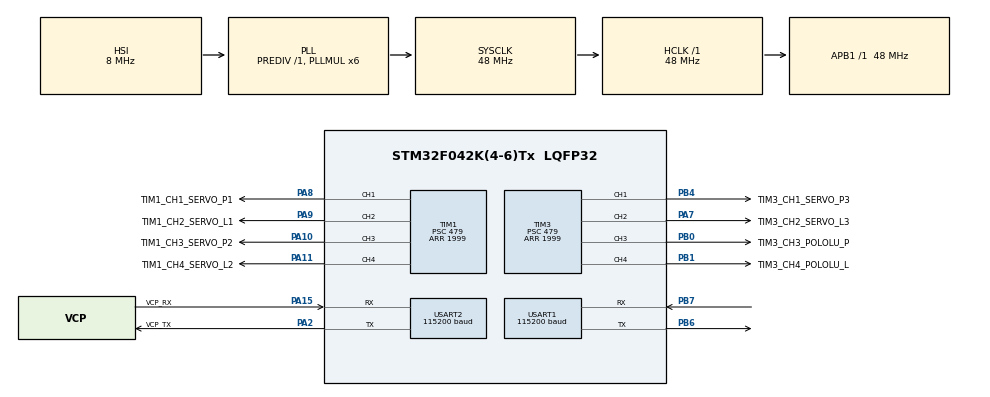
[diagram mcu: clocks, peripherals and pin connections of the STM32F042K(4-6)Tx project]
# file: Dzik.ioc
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Mcu.Family=STM32F0
Mcu.Name=STM32F042K(4-6)Tx
Mcu.Package=LQFP32
NVIC.USART1_IRQn=true\:0\:0\:false\:false\:true\:true\:true\:true
NVIC.USART2_IRQn=true\:0\:0\:false\:false\:true\:true\:true\:true
PA10.GPIO_Label=TIM1_CH3_SERVO_P2
PA10.Signal=S_TIM1_CH3
PA11.GPIO_Label=TIM1_CH4_SERVO_L2
PA11.Signal=S_TIM1_CH4
PA13.GPIO_Label=SWDIO
PA13.Mode=Serial_Wire
PA13.Signal=SYS_SWDIO
PA14.GPIO_Label=SWCLK
PA14.Mode=Serial_Wire
PA14.Signal=SYS_SWCLK
PA15.GPIO_Label=VCP_RX
PA15.Mode=Asynchronous
PA15.Signal=USART2_RX
PA2.GPIO_Label=VCP_TX
PA2.Mode=Asynchronous
PA2.Signal=USART2_TX
PA7.GPIO_Label=TIM3_CH2_SERVO_L3
PA7.Signal=S_TIM3_CH2
PA8.GPIO_Label=TIM1_CH1_SERVO_P1
PA8.Signal=S_TIM1_CH1
PA9.GPIO_Label=TIM1_CH2_SERVO_L1
PA9.Signal=S_TIM1_CH2
PB0.GPIO_Label=TIM3_CH3_POLOLU_P
PB0.Signal=S_TIM3_CH3
PB1.GPIO_Label=TIM3_CH4_POLOLU_L
PB1.Signal=S_TIM3_CH4
PB4.GPIO_Label=TIM3_CH1_SERVO_P3
PB4.Signal=S_TIM3_CH1
PB6.Mode=Asynchronous
PB6.Signal=USART1_TX
PB7.Mode=Asynchronous
PB7.Signal=USART1_RX
PF0-OSC_IN.GPIO_Label=MCO
PF0-OSC_IN.Mode=HSE-External-Clock-Source
PF0-OSC_IN.Signal=RCC_OSC_IN
ProjectManager.HeapSize=0x200
ProjectManager.StackSize=0x400
ProjectManager.TargetToolchain=STM32CubeIDE
RCC.AHBFreq_Value=48000000
RCC.APB1Freq_Value=48000000
RCC.APB1TimFreq_Value=48000000
RCC.HCLKFreq_Value=48000000
RCC.PLLMUL=RCC_PLL_MUL6
RCC.SYSCLKFreq_VALUE=48000000
RCC.SYSCLKSource=RCC_SYSCLKSOURCE_PLLCLK
SH.S_TIM1_CH1.0=TIM1_CH1,PWM Generation1 CH1
SH.S_TIM1_CH2.0=TIM1_CH2,PWM Generation2 CH2
SH.S_TIM1_CH3.0=TIM1_CH3,PWM Generation3 CH3
SH.S_TIM1_CH4.0=TIM1_CH4,PWM Generation4 CH4
SH.S_TIM3_CH1.0=TIM3_CH1,PWM Generation1 CH1
SH.S_TIM3_CH2.0=TIM3_CH2,PWM Generation2 CH2
SH.S_TIM3_CH3.0=TIM3_CH3,PWM Generation3 CH3
SH.S_TIM3_CH4.0=TIM3_CH4,PWM Generation4 CH4
TIM1.AutoReloadPreload=TIM_AUTORELOAD_PRELOAD_ENABLE
TIM1.Channel-PWM\ Generation1\ CH1=TIM_CHANNEL_1
TIM1.Channel-PWM\ Generation2\ CH2=TIM_CHANNEL_2
TIM1.Channel-PWM\ Generation3\ CH3=TIM_CHANNEL_3
TIM1.Channel-PWM\ Generation4\ CH4=TIM_CHANNEL_4
TIM1.OC1Preload_PWM=DISABLE
TIM1.OC2Preload_PWM=DISABLE
TIM1.OC3Preload_PWM=DISABLE
TIM1.OC4Preload_PWM=DISABLE
TIM1.OCFastMode_PWM-PWM\ Generation1\ CH1=TIM_OCFAST_ENABLE
TIM1.OCFastMode_PWM-PWM\ Generation2\ CH2=TIM_OCFAST_ENABLE
TIM1.OCFastMode_PWM-PWM\ Generation3\ CH3=TIM_OCFAST_ENABLE
TIM1.OCFastMode_PWM-PWM\ Generation4\ CH4=TIM_OCFAST_ENABLE
TIM1.Period=1999
TIM1.Prescaler=479
TIM1.Pulse-PWM\ Generation1\ CH1=0
TIM1.Pulse-PWM\ Generation2\ CH2=0
TIM1.Pulse-PWM\ Generation3\ CH3=0
TIM1.Pulse-PWM\ Generation4\ CH4=0
TIM3.AutoReloadPreload=TIM_AUTORELOAD_PRELOAD_ENABLE
TIM3.Channel-PWM\ Generation1\ CH1=TIM_CHANNEL_1
TIM3.Channel-PWM\ Generation2\ CH2=TIM_CHANNEL_2
TIM3.Channel-PWM\ Generation3\ CH3=TIM_CHANNEL_3
TIM3.Channel-PWM\ Generation4\ CH4=TIM_CHANNEL_4
TIM3.OC1Preload_PWM=DISABLE
TIM3.OC2Preload_PWM=DISABLE
TIM3.OC3Preload_PWM=DISABLE
TIM3.OC4Preload_PWM=DISABLE
TIM3.OCFastMode_PWM-PWM\ Generation1\ CH1=TIM_OCFAST_ENABLE
TIM3.OCFastMode_PWM-PWM\ Generation2\ CH2=TIM_OCFAST_ENABLE
TIM3.OCFastMode_PWM-PWM\ Generation3\ CH3=TIM_OCFAST_ENABLE
TIM3.OCFastMode_PWM-PWM\ Generation4\ CH4=TIM_OCFAST_ENABLE
TIM3.Period=1999
TIM3.Prescaler=479
TIM3.Pulse-PWM\ Generation1\ CH1=0
TIM3.Pulse-PWM\ Generation2\ CH2=0
TIM3.Pulse-PWM\ Generation3\ CH3=0
TIM3.Pulse-PWM\ Generation4\ CH4=0
USART1.BaudRate=115200
USART1.VirtualMode-Asynchronous=VM_ASYNC
USART2.BaudRate=115200
USART2.VirtualMode-Asynchronous=VM_ASYNC
USART2.WordLength=WORDLENGTH_8B
VP_TIM1_VS_ClockSourceINT.Mode=Internal
VP_TIM3_VS_ClockSourceINT.Mode=Internal
board=NUCLEO-F042K6

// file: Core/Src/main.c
/* USER CODE BEGIN Header */
/**
  ******************************************************************************
  * @file           : main.c
  * @brief          : Main program body
  ******************************************************************************
  * @attention
  *
  * Copyright (c) 2022 STMicroelectronics.
  * All rights reserved.
  *
  * This software is licensed under terms that can be found in the LICENSE file
  * in the root directory of this software component.
  * If no LICENSE file comes with this software, it is provided AS-IS.
  *
  ******************************************************************************
  */
/* USER CODE END Header */
#include "main.h"
#include "tim.h"
#include "usart.h"
#include "gpio.h"

/* USER CODE BEGIN PD */

// VARIABLES FROM RASPBERRY

#define MAX_FORWARD 224
#define MIN_FORWARD 255

#define MAX_BACKWARD 32
#define MIN_BACKWARD 0

#define MAX_RIGHT 157
#define MIN_RIGHT 0

#define MAX_LEFT 99
#define MIN_LEFT 255

/* USER CODE END PD */

/* USER CODE BEGIN PV */
uint8_t RxBuff;
uint16_t i = 0;
int8_t FinalBuffer[16];
uint8_t frameready = 0;
uint8_t framefirst = 0;

uint8_t ForwardDriver = 0;
uint8_t BackwardDriver = 0;
uint8_t RightDriver = 0;
uint8_t LeftDriver = 0;

uint8_t finalframeready = 0;

uint8_t Values[12];

uint8_t Flag_Direction = 0; // FLAG = 0 < Neutral | FLAG = 2 < Right | Flag = 1 < Left

/* USER CODE END PV */

void SystemClock_Config(void);
/* USER CODE BEGIN PFP */
void HAL_UART_RxCpltCallback(UART_HandleTypeDef *huart);
/* USER CODE END PFP */

/* USER CODE BEGIN 0 */

uint8_t computeProportionForwardDrive(int8_t in){
	return (((float)in*(0.5)) + 150.0);
}

uint8_t computeProportionBackwardDrive(int8_t in){
	return (((float)in*(0.5)) + 150.0);
}

uint8_t computeLeftServo(int8_t in){
	if(in == 0){
		return 150;
	}
	return (((float)in*(-0.7)) + 150);
}

uint8_t computeRightServo(int8_t in){

	if(in == 0){
		return 150;
	}

	return (((float)in*(-0.65)) + 150);
}

/* USER CODE END 0 */

int main(void)
{

  /* MCU Configuration--------------------------------------------------------*/

  /* Reset of all peripherals, Initializes the Flash interface and the Systick. */
  HAL_Init();

  /* Configure the system clock */
  SystemClock_Config();

  /* Initialize all configured peripherals */
  MX_GPIO_Init();
  MX_USART2_UART_Init();
  MX_USART1_UART_Init();
  MX_TIM1_Init();
  MX_TIM3_Init();
  /* USER CODE BEGIN 2 */

/*

USART1_TX | PB6
USART1_RX | PB7
Baudrate 115200

Dla napedu kol:
Ustawienie predkosci do przodu jest w zakresie decy: 32: START zaczyna sie od 255 (0xFF) do 224 (0xE0)
Ustawienie predkosci do tylu jest w zakresie decy: 32: START zaczyna sie od 1 (0x01) do 32 (0x20)

Do skretu serwa:

Ustawienie kata skretu w prawo jest w zakresie decy: 157; START zaczyna sie od MIN: 0x01 (1) do 0x9D (157)
Ustawienie kata skretu w lewo jest w zakresie decy: 157; START zaczyna sie od MIN: 0xFF (255) do 0x63 (99)
zakres: 157
PRAWO: MAX: 0x9D -> 0x01 min
lewo; max 0x63 -. 0xff min

Glowne taktowanie zegara 48MHz
Taktowanie glowne taktowanie timer'a 48MHz

Dla pololu
Prescaler 479
ARR: 1999

ARR: 100 MAX W LEWO
ARR: 200 MAX W PRAWO
ARR: 150 NEUTRAL

Serwo:
Prescaler 479
ARR: 1999

ARR: 215 MAX W LEWO
ARR: 80 MAX W PRAWO
ARR: 150 NEUTRAL (POZYCJA POCZATKOWA)

 ##################### FRAME #########################
        return std::vector<uint8_t>{0x9B, // Wartosc rozpoczecia ramki
                                    getWheelCommand(commands.frontLeftWheel), // Numer elementu w tablicy FinalBuffer - 0
                                    getSteerCommand(commands.frontLeftSteer), 1
                                    getWheelCommand(commands.frontRightWheel), 2
                                    getSteerCommand(commands.frontRightSteer), 3
                                    getWheelCommand(commands.midLeftWheel), 4
                                    getSteerCommand(commands.midLeftSteer), 5
                                    getWheelCommand(commands.midRightWheel), 6
                                    getSteerCommand(commands.midRightSteer), 7
                                    getWheelCommand(commands.rearLeftWheel), 8
                                    getSteerCommand(commands.rearLeftSteer), 9
                                    getWheelCommand(commands.rearRightWheel), 10
                                    getSteerCommand(commands.rearRightSteer), 11
                                    0x65}; // Wartosc konca ramki
    }

*/

  HAL_UART_Receive_IT(&huart1, &RxBuff, 1);

  HAL_TIM_PWM_Start(&htim1, TIM_CHANNEL_1); // SERWO P1 | PA8
  HAL_TIM_PWM_Start(&htim1, TIM_CHANNEL_2); // SERWO L1 | PA9
  HAL_TIM_PWM_Start(&htim1, TIM_CHANNEL_3); // SERWO P2 | PA10
  HAL_TIM_PWM_Start(&htim1, TIM_CHANNEL_4); // SERWO L2 | PA11

  HAL_TIM_PWM_Start(&htim3, TIM_CHANNEL_1); // SERWO P3 | PB4
  HAL_TIM_PWM_Start(&htim3, TIM_CHANNEL_2); // SERWO L3 | PA7
  HAL_TIM_PWM_Start(&htim3, TIM_CHANNEL_4); // POLOLU | PB1
  HAL_TIM_PWM_Start(&htim3, TIM_CHANNEL_3); // POLOLU | PB0

 // Ustawienie serw oraz kol w poczatkowa pozycje
  __HAL_TIM_SET_COMPARE(&htim1, TIM_CHANNEL_1, 150);
  __HAL_TIM_SET_COMPARE(&htim1, TIM_CHANNEL_2, 150);
  __HAL_TIM_SET_COMPARE(&htim1, TIM_CHANNEL_3, 150);
  __HAL_TIM_SET_COMPARE(&htim1, TIM_CHANNEL_4, 150);

  __HAL_TIM_SET_COMPARE(&htim3, TIM_CHANNEL_1, 150);
  __HAL_TIM_SET_COMPARE(&htim3, TIM_CHANNEL_2, 150);

  __HAL_TIM_SET_COMPARE(&htim3, TIM_CHANNEL_4, 150);
  __HAL_TIM_SET_COMPARE(&htim3, TIM_CHANNEL_3, 150);

  /* USER CODE END 2 */

  /* Infinite loop */
  /* USER CODE BEGIN WHILE */
  while (1)
  {

	  if(finalframeready == 1){

		  // ###### FRONT LEFT STEER ######
		  if(FinalBuffer[1] > 0 && FinalBuffer[1] <= 100){ // RIGHT
			  Values[0] = computeRightServo(FinalBuffer[1]);
			  __HAL_TIM_SET_COMPARE(&htim1, TIM_CHANNEL_2, Values[0]);
		  } else if(FinalBuffer[1] >= -100 && FinalBuffer[1] < 0){ // LEFT
			  Values[0] = computeLeftServo(FinalBuffer[1]);
			  __HAL_TIM_SET_COMPARE(&htim1, TIM_CHANNEL_2, Values[0]);
		  } else { // NEUTRAL
			  __HAL_TIM_SET_COMPARE(&htim1, TIM_CHANNEL_2, 150);
		  }

		  // ###### FRONT RIGHT STEER ######
		  if(FinalBuffer[3] > 0 && FinalBuffer[3] <= 100){ // RIGHT
			  Values[1] = computeRightServo(FinalBuffer[3]);
			  __HAL_TIM_SET_COMPARE(&htim1, TIM_CHANNEL_1, Values[1]);
		  } else if(FinalBuffer[3] >= -100 && FinalBuffer[3] < 0){ // LEFT
			  Values[1] = computeLeftServo(FinalBuffer[3]);
			  __HAL_TIM_SET_COMPARE(&htim1, TIM_CHANNEL_1, Values[1]);
		  } else { // NEUTRAL
			  __HAL_TIM_SET_COMPARE(&htim1, TIM_CHANNEL_1, 150);
		  }

		  // ###### MID LEFT STEER ######
		  if(FinalBuffer[5] > 0 && FinalBuffer[5] <= 100){ // RIGHT
			  Values[2] = computeRightServo(FinalBuffer[5]);
			  __HAL_TIM_SET_COMPARE(&htim1, TIM_CHANNEL_4, Values[2]);
		  } else if(FinalBuffer[5] >= -100 && FinalBuffer[5] < 0){ // LEFT
			  Values[2] = computeLeftServo(FinalBuffer[5]);
			  __HAL_TIM_SET_COMPARE(&htim1, TIM_CHANNEL_4, Values[2]);
		  } else { // NEUTRAL
			  __HAL_TIM_SET_COMPARE(&htim1, TIM_CHANNEL_4, 150);
		  }

		  // ###### MID RIGHT STEER ######
		  if(FinalBuffer[7] > 0 && FinalBuffer[7] <= 100){ // RIGHT
			  Values[3] = computeRightServo(FinalBuffer[7]);
			  __HAL_TIM_SET_COMPARE(&htim1, TIM_CHANNEL_3, Values[3]);
		  } else if(FinalBuffer[7] >= -100 && FinalBuffer[7] < 0){ // LEFT
			  Values[3] = computeLeftServo(FinalBuffer[7]);
			  __HAL_TIM_SET_COMPARE(&htim1, TIM_CHANNEL_3, Values[3]);
		  } else { // NEUTRAL
			  __HAL_TIM_SET_COMPARE(&htim1, TIM_CHANNEL_3, 150);
		  }

		  // ###### REAR LEFT STEER ######
		  if(FinalBuffer[9] > 0 && FinalBuffer[9] <= 100){ // RIGHT
			  Values[4] = computeRightServo(FinalBuffer[9]);
			  __HAL_TIM_SET_COMPARE(&htim3, TIM_CHANNEL_2, Values[4]);
		  } else if(FinalBuffer[9] >= -100 && FinalBuffer[9] < 0){ // LEFT
			  Values[4] = computeLeftServo(FinalBuffer[9]);
			  __HAL_TIM_SET_COMPARE(&htim3, TIM_CHANNEL_2, Values[4]);
		  } else { // NEUTRAL
			  __HAL_TIM_SET_COMPARE(&htim3, TIM_CHANNEL_2, 150);
		  }

		  // ###### REAR RIGHT STEER ######
		  if(FinalBuffer[11] > 0 && FinalBuffer[11] <= 100){ // RIGHT
			  Values[5] = computeRightServo(FinalBuffer[11]);
			  __HAL_TIM_SET_COMPARE(&htim3, TIM_CHANNEL_1, Values[5]);
		  } else if(FinalBuffer[11] >= -100 && FinalBuffer[11] < 0){ // LEFT
			  Values[5] = computeLeftServo(FinalBuffer[11]);
			  __HAL_TIM_SET_COMPARE(&htim3, TIM_CHANNEL_1, Values[5]);
		  } else { // NEUTRAL
			  __HAL_TIM_SET_COMPARE(&htim3, TIM_CHANNEL_1, 150);
		  }

		  if(FinalBuffer[0] > 0 && FinalBuffer[0] <= 100){
			  Values[6] = computeProportionForwardDrive(FinalBuffer[0]);
			  __HAL_TIM_SET_COMPARE(&htim3, TIM_CHANNEL_4, Values[6]);
		  } else if(FinalBuffer[0] >= -100 && FinalBuffer[0] < 0){
			  Values[7] = computeProportionBackwardDrive(FinalBuffer[0]);
			 __HAL_TIM_SET_COMPARE(&htim3, TIM_CHANNEL_4, Values[7]);
		  } else if(FinalBuffer[0] == 0){
			  __HAL_TIM_SET_COMPARE(&htim3, TIM_CHANNEL_4, 150);
		  }

		  if(FinalBuffer[2] > 0 && FinalBuffer[2] <= 100){
			  Values[8] = computeProportionForwardDrive(FinalBuffer[0]);
			  __HAL_TIM_SET_COMPARE(&htim3, TIM_CHANNEL_3, Values[8]);
		  } else if(FinalBuffer[2] >= -100 && FinalBuffer[2] < 0){
			  Values[9] = computeProportionBackwardDrive(FinalBuffer[0]);
			 __HAL_TIM_SET_COMPARE(&htim3, TIM_CHANNEL_3, Values[9]);
		  } else if(FinalBuffer[2] == 0){
			  __HAL_TIM_SET_COMPARE(&htim3, TIM_CHANNEL_3, 150);
		  }

		  finalframeready = 0;

	  }

    /* USER CODE END WHILE */

  }
}

void SystemClock_Config(void)
{
  RCC_OscInitTypeDef RCC_OscInitStruct = {0};
  RCC_ClkInitTypeDef RCC_ClkInitStruct = {0};
  RCC_PeriphCLKInitTypeDef PeriphClkInit = {0};

  /** Initializes the RCC Oscillators according to the specified parameters
  * in the RCC_OscInitTypeDef structure.
  */
  RCC_OscInitStruct.OscillatorType = RCC_OSCILLATORTYPE_HSI;
  RCC_OscInitStruct.HSIState = RCC_HSI_ON;
  RCC_OscInitStruct.HSICalibrationValue = RCC_HSICALIBRATION_DEFAULT;
  RCC_OscInitStruct.PLL.PLLState = RCC_PLL_ON;
  RCC_OscInitStruct.PLL.PLLSource = RCC_PLLSOURCE_HSI;
  RCC_OscInitStruct.PLL.PLLMUL = RCC_PLL_MUL6;
  RCC_OscInitStruct.PLL.PREDIV = RCC_PREDIV_DIV1;
  if (HAL_RCC_OscConfig(&RCC_OscInitStruct) != HAL_OK)
  {
    Error_Handler();
  }

  /** Initializes the CPU, AHB and APB buses clocks
  */
  RCC_ClkInitStruct.ClockType = RCC_CLOCKTYPE_HCLK|RCC_CLOCKTYPE_SYSCLK
                              |RCC_CLOCKTYPE_PCLK1;
  RCC_ClkInitStruct.SYSCLKSource = RCC_SYSCLKSOURCE_PLLCLK;
  RCC_ClkInitStruct.AHBCLKDivider = RCC_SYSCLK_DIV1;
  RCC_ClkInitStruct.APB1CLKDivider = RCC_HCLK_DIV1;

  if (HAL_RCC_ClockConfig(&RCC_ClkInitStruct, FLASH_LATENCY_1) != HAL_OK)
  {
    Error_Handler();
  }
  PeriphClkInit.PeriphClockSelection = RCC_PERIPHCLK_USART1;
  PeriphClkInit.Usart1ClockSelection = RCC_USART1CLKSOURCE_PCLK1;
  if (HAL_RCCEx_PeriphCLKConfig(&PeriphClkInit) != HAL_OK)
  {
    Error_Handler();
  }
}

/* USER CODE BEGIN 4 */
void HAL_UART_RxCpltCallback(UART_HandleTypeDef *huart){
	//if(huart2.Instance == huart){

		HAL_UART_Receive_IT(&huart1, &RxBuff, 1);

		if(RxBuff == 0x9B){
			frameready = 1;
			framefirst = 1;
		} else {
			framefirst = 0;
		}

		if(RxBuff == 0x65){
			i = 0;
			frameready = 0;
			//memset(FinalBuffer, 0, 64);
			finalframeready = 1;
		}

		if(frameready == 1 && framefirst == 0){
			FinalBuffer[i] = RxBuff;
			i++;

		}

	//}
}
/* USER CODE END 4 */

void Error_Handler(void)
{
  __disable_irq();
  while (1)
  {
  }
}
